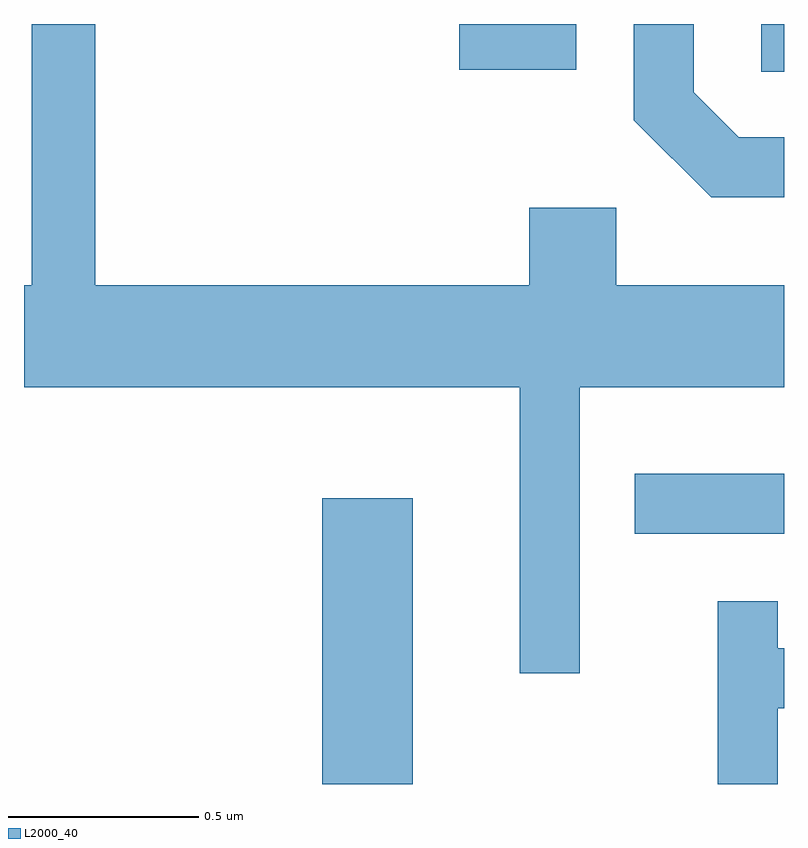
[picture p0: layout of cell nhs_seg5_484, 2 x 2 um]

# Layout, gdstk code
import gdstk
lib = gdstk.Library(unit=1e-6, precision=1e-09)
def R(c, l, rs):  # rectangles x0, y0, x1, y1
    for r in rs: c.add(gdstk.rectangle(r[:2], r[2:], *l))
def P(c, l, *ps):  # polygons
    for p in ps: c.add(gdstk.Polygon(p, *l))
L2000_40 = (2000, 40)

nhs_seg5_484 = lib.new_cell('nhs_seg5_484')
R(nhs_seg5_484, L2000_40, [(189.396,1469.072,189.634,1469.824), (190.218,1469.731,190.611,1469.889), (190.551,1470.946,190.611,1471.072), (189.756,1470.951,190.064,1471.072)])
P(nhs_seg5_484, L2000_40, [(190.074,1470.116),(190.611,1470.116),(190.611,1470.384),(190.169,1470.384),(190.169,1470.589),(189.941,1470.589),(189.941,1470.384),(188.799,1470.384),(188.799,1471.072),(188.631,1471.072),(188.631,1470.384),(188.611,1470.384),(188.611,1470.116),(189.916,1470.116),(189.916,1469.363),(190.074,1469.363)],
  [(190.611,1470.774),(190.492,1470.774),(190.374,1470.892),(190.374,1471.072),(190.216,1471.072),(190.216,1470.819),(190.419,1470.616),(190.611,1470.616)],
  [(190.594,1469.271),(190.611,1469.271),(190.611,1469.429),(190.594,1469.429),(190.594,1469.553),(190.436,1469.553),(190.436,1469.072),(190.594,1469.072)])

lib.write_gds('nhs_seg5_484.gds')
